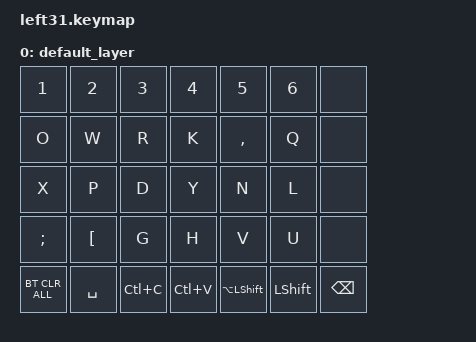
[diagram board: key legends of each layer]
#include <behaviors.dtsi>
#include <dt-bindings/zmk/keys.h>
#include <dt-bindings/zmk/bt.h>

/ {
    keymap {
        compatible = "zmk,keymap";

        default_layer {
            bindings = <
                // R0
                &kp N1      &kp N2      &kp N3      &kp N4      &kp N5      &kp N6      &none

                // R1 -> щ ц к л б й
                &kp O       &kp W       &kp R       &kp K       &kp COMMA   &kp Q       &none

                // R2 -> ч з в н т д
                &kp X       &kp P       &kp D       &kp Y       &kp N       &kp L       &none

                // R3 -> ж х п р м г
                &kp SEMI    &kp LBKT    &kp G       &kp H       &kp V       &kp U       &none

                // R4 (thumb)
                &bt BT_CLR_ALL   &kp SPACE   &kp LC(C)   &kp LC(V)   &kp LA(LSHFT)   &kp LSHFT   &kp BSPC
            >;
        };
    };
};
